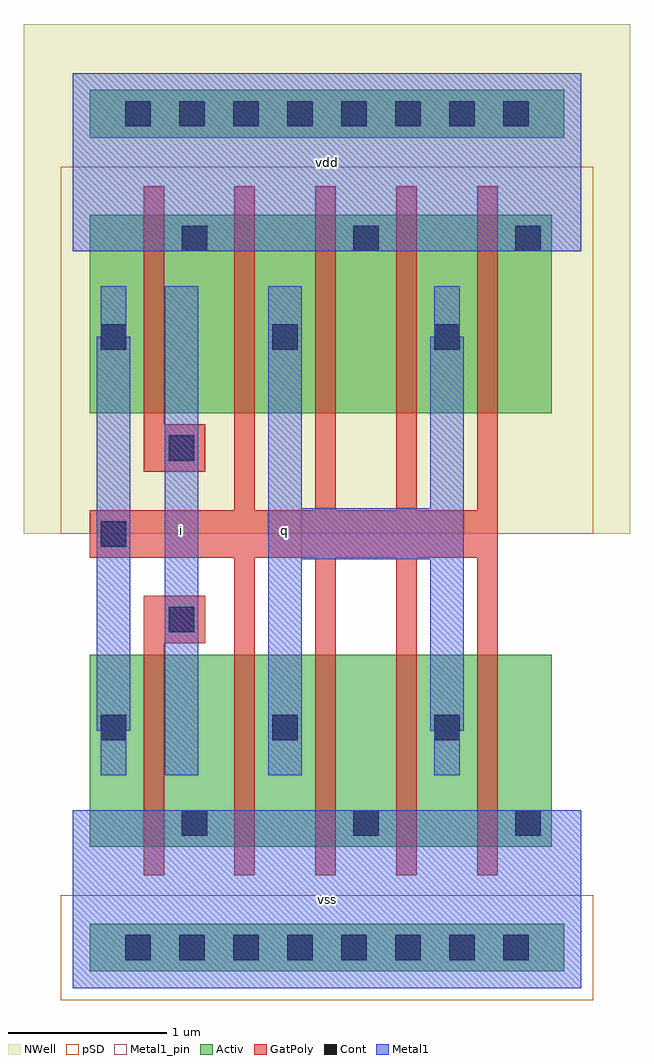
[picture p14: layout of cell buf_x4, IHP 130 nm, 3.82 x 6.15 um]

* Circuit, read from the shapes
.subckt buf_x4 i q vdd vss
XM1 vss i n1 vss sg13_lv_nmos w=1.21u l=0.13u
XM2 q n1 vss vss sg13_lv_nmos w=1.21u l=0.13u m=4
XM3 vdd i n1 vdd sg13_lv_pmos w=1.25u l=0.13u
XM4 q n1 vdd vdd sg13_lv_pmos w=1.25u l=0.13u m=4
.ends

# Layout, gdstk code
import gdstk
lib = gdstk.Library(unit=1e-6, precision=1e-09)
def R(c, l, rs):  # rectangles x0, y0, x1, y1
    for r in rs: c.add(gdstk.rectangle(r[:2], r[2:], *l))
def A(c, l, x, y, w, h, nx, ny, dx, dy):  # array of equal rectangles
    R(c, l, [(x+i*dx, y+j*dy, x+i*dx+w, y+j*dy+h) for i in range(nx) for j in range(ny)])
def P(c, l, *ps):  # polygons
    for p in ps: c.add(gdstk.Polygon(p, *l))
Activ = (1, 0)
GatPoly = (5, 0)
Cont = (6, 0)
Metal1 = (8, 0)
Metal1_pin = (8, 2)
pSD = (14, 0)
NWell = (31, 0)

buf_x4 = lib.new_cell('buf_x4')
R(buf_x4, Activ, [(0.105,0.105,3.095,0.405), (0.105,0.89,3.015,2.1), (0.105,3.62,3.015,4.87), (0.105,5.355,3.095,5.655)])
P(buf_x4, GatPoly, [(1.015,0.71),(1.015,2.71),(0.105,2.71),(0.105,3.01),(1.015,3.01),(1.015,5.05),(1.145,5.05),(1.145,3.01),(1.525,3.01),(1.525,5.05),(1.655,5.05),(1.655,3.01),(2.035,3.01),(2.035,5.05),(2.165,5.05),(2.165,3.01),(2.545,3.01),(2.545,5.05),(2.675,5.05),(2.675,0.71),(2.545,0.71),(2.545,2.71),(2.165,2.71),(2.165,0.71),(2.035,0.71),(2.035,2.71),(1.655,2.71),(1.655,0.71),(1.525,0.71),(1.525,2.71),(1.145,2.71),(1.145,0.71)],
  [(0.445,3.25),(0.445,5.05),(0.575,5.05),(0.575,3.55),(0.835,3.55),(0.835,3.25)],
  [(0.445,0.71),(0.445,2.47),(0.835,2.47),(0.835,2.17),(0.575,2.17),(0.575,0.71)])
A(buf_x4, Cont, 0.33, 0.175, 0.16, 0.16, 8, 2, 0.34, 5.25)
R(buf_x4, Cont, [(0.685,0.96,0.845,1.12), (1.765,0.96,1.925,1.12), (2.785,0.96,2.945,1.12), (0.175,1.56,0.335,1.72), (1.255,1.56,1.415,1.72), (2.275,1.56,2.435,1.72), (0.605,2.24,0.765,2.4), (0.175,2.78,0.335,2.94), (0.605,3.32,0.765,3.48), (0.175,4.02,0.335,4.18), (1.255,4.02,1.415,4.18), (2.275,4.02,2.435,4.18), (0.685,4.64,0.845,4.8), (1.765,4.64,1.925,4.8), (2.785,4.64,2.945,4.8)])
R(buf_x4, Metal1, [(0,0,3.2,1.12), (0.58,1.34,0.79,4.42), (0,4.64,3.2,5.76)])
P(buf_x4, Metal1, [(0.175,1.34),(0.175,1.62),(0.15,1.62),(0.15,4.1),(0.175,4.1),(0.175,4.42),(0.335,4.42),(0.335,4.1),(0.36,4.1),(0.36,1.62),(0.335,1.62),(0.335,1.34)],
  [(1.23,1.34),(1.23,4.42),(1.44,4.42),(1.44,3.02),(2.25,3.02),(2.25,4.1),(2.275,4.1),(2.275,4.42),(2.435,4.42),(2.435,4.1),(2.46,4.1),(2.46,1.62),(2.435,1.62),(2.435,1.34),(2.275,1.34),(2.275,1.62),(2.25,1.62),(2.25,2.7),(1.44,2.7),(1.44,1.34)])
R(buf_x4, Metal1_pin, [(0,0,3.2,1.12), (0.58,1.34,0.79,4.42), (1.23,1.34,1.44,4.42), (0,4.64,3.2,5.76)])
R(buf_x4, pSD, [(-0.075,-0.075,3.275,0.585), (-0.075,2.86,3.275,5.17)])
R(buf_x4, NWell, [(-0.31,2.86,3.51,6.07)])
buf_x4.add(gdstk.Label('vdd', (1.6,5.2), layer=8, texttype=2))
buf_x4.add(gdstk.Label('vss', (1.6,0.56), layer=8, texttype=2))
buf_x4.add(gdstk.Label('i', (0.685,2.88), layer=8, texttype=2))
buf_x4.add(gdstk.Label('q', (1.335,2.88), layer=8, texttype=2))

lib.write_gds('buf_x4.gds')
